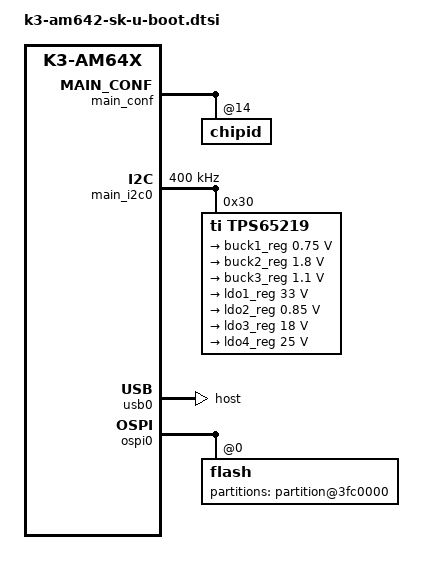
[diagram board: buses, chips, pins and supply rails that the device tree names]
// SPDX-License-Identifier: GPL-2.0
/*
 * Copyright (C) 2021 Texas Instruments Incorporated - https://www.ti.com/
 */

#include "k3-am64x-binman.dtsi"

/ {
	chosen {
		stdout-path = "serial2:115200n8";
		tick-timer = &timer1;
	};

	aliases {
		mmc1 = &sdhci1;
	};

	memory@80000000 {
		bootph-pre-ram;
	};
};

&cbass_main{
	bootph-pre-ram;
	timer1: timer@2400000 {
		compatible = "ti,omap5430-timer";
		reg = <0x0 0x2400000 0x0 0x80>;
		ti,timer-alwon;
		clock-frequency = <200000000>;
		bootph-pre-ram;
	};
};

&main_conf {
	bootph-pre-ram;
	chipid@14 {
		bootph-pre-ram;
	};
};

&main_pmx0 {
	bootph-pre-ram;
	main_i2c0_pins_default: main-i2c0-pins-default {
		bootph-pre-ram;
		pinctrl-single,pins = <
			AM64X_IOPAD(0x0260, PIN_INPUT_PULLUP, 0) /* (A18) I2C0_SCL */
			AM64X_IOPAD(0x0264, PIN_INPUT_PULLUP, 0) /* (B18) I2C0_SDA */
		>;
	};
};

&main_i2c0 {
	status = "okay";
	bootph-pre-ram;
	pinctrl-names = "default";
	pinctrl-0 = <&main_i2c0_pins_default>;
	clock-frequency = <400000>;

	tps65219: pmic@30 {
		compatible = "ti,tps65219";
		reg = <0x30>;

		regulators {
			buck1_reg: buck1 {
				regulator-name = "VDD_CORE";
				regulator-min-microvolt = <750000>;
				regulator-max-microvolt = <750000>;
				regulator-boot-on;
				regulator-always-on;
			};

			buck2_reg: buck2 {
				regulator-name = "VCC1V8";
				regulator-min-microvolt = <1800000>;
				regulator-max-microvolt = <1800000>;
				regulator-boot-on;
				regulator-always-on;
			};

			buck3_reg: buck3 {
				regulator-name = "VDD_LPDDR4";
				regulator-min-microvolt = <1100000>;
				regulator-max-microvolt = <1100000>;
				regulator-boot-on;
				regulator-always-on;
			};

			ldo1_reg: ldo1 {
				regulator-name = "VDDSHV_SD_IO_PMIC";
				regulator-min-microvolt = <33000000>;
				regulator-max-microvolt = <33000000>;
			};

			ldo2_reg: ldo2 {
				regulator-name = "VDDAR_CORE";
				regulator-min-microvolt = <850000>;
				regulator-max-microvolt = <850000>;
				regulator-boot-on;
				regulator-always-on;
			};

			ldo3_reg: ldo3 {
				regulator-name = "VDDA_1V8";
				regulator-min-microvolt = <18000000>;
				regulator-max-microvolt = <18000000>;
				regulator-boot-on;
				regulator-always-on;
			};

			ldo4_reg: ldo4 {
				regulator-name = "VDD_PHY_2V5";
				regulator-min-microvolt = <25000000>;
				regulator-max-microvolt = <25000000>;
				regulator-boot-on;
				regulator-always-on;
			};
		};
	};
};

&main_uart0 {
	bootph-pre-ram;
};

&dmss {
	bootph-pre-ram;
};

&secure_proxy_main {
	bootph-pre-ram;
};

&dmsc {
	bootph-pre-ram;
	k3_sysreset: sysreset-controller {
		compatible = "ti,sci-sysreset";
		bootph-pre-ram;
	};
};

&k3_pds {
	bootph-pre-ram;
};

&k3_clks {
	bootph-pre-ram;
};

&k3_reset {
	bootph-pre-ram;
};

&sdhci0 {
	status = "disabled";
	bootph-pre-ram;
};

&sdhci1 {
	bootph-pre-ram;
};

&main_mmc1_pins_default {
	bootph-pre-ram;
};

&cpsw3g {
	reg = <0x0 0x8000000 0x0 0x200000>,
	      <0x0 0x43000200 0x0 0x8>;
	reg-names = "cpsw_nuss", "mac_efuse";
	/delete-property/ ranges;
	pinctrl-0 = <&mdio1_pins_default	/* HACK: as MDIO driver is not DM enabled */
		     &rgmii1_pins_default
		     &rgmii2_pins_default>;
	bootph-pre-ram;

	cpsw-phy-sel@04044 {
		compatible = "ti,am64-phy-gmii-sel";
		reg = <0x0 0x43004044 0x0 0x8>;
		bootph-pre-ram;
	};

	ethernet-ports {
		bootph-pre-ram;
	};
};

&cpsw_port2 {
	bootph-pre-ram;
};

&main_bcdma {
	bootph-pre-ram;
	reg = <0x00 0x485c0100 0x00 0x100>,
	      <0x00 0x4c000000 0x00 0x20000>,
	      <0x00 0x4a820000 0x00 0x20000>,
	      <0x00 0x4aa40000 0x00 0x20000>,
	      <0x00 0x4bc00000 0x00 0x100000>,
	      <0x00 0x48600000 0x00 0x8000>,
	      <0x00 0x484a4000 0x00 0x2000>,
	      <0x00 0x484c2000 0x00 0x2000>;
	reg-names = "gcfg", "bchanrt", "rchanrt", "tchanrt", "ringrt",
		    "cfg", "tchan", "rchan";
};

&main_pktdma {
	bootph-pre-ram;
	reg = <0x00 0x485c0000 0x00 0x100>,
	      <0x00 0x4a800000 0x00 0x20000>,
	      <0x00 0x4aa00000 0x00 0x40000>,
	      <0x00 0x4b800000 0x00 0x400000>,
	      <0x00 0x485e0000 0x00 0x20000>,
	      <0x00 0x484a0000 0x00 0x4000>,
	      <0x00 0x484c0000 0x00 0x2000>,
	      <0x00 0x48430000 0x00 0x4000>;
	reg-names = "gcfg", "rchanrt", "tchanrt", "ringrt", "cfg",
		    "tchan", "rchan", "rflow";
};

&rgmii1_pins_default {
	bootph-pre-ram;
};

&rgmii2_pins_default {
	bootph-pre-ram;
};

&mdio1_pins_default {
	bootph-pre-ram;
};

&cpsw3g_phy1 {
	bootph-pre-ram;
};

&main_usb0_pins_default {
	bootph-pre-ram;
};

&serdes_ln_ctrl {
	u-boot,mux-autoprobe;
};

&usbss0 {
	bootph-pre-ram;
};

&usb0 {
	dr_mode = "host";
	bootph-pre-ram;
};

&serdes_wiz0 {
	bootph-pre-ram;
};

&serdes0_usb_link {
	bootph-pre-ram;
};

&serdes0 {
	bootph-pre-ram;
};

&serdes_refclk {
	bootph-pre-ram;
};

&ospi0_pins_default {
	bootph-pre-ram;
};

&fss {
	bootph-pre-ram;
};

&ospi0 {
	bootph-pre-ram;

	flash@0 {
		bootph-pre-ram;

		partitions {
			bootph-pre-ram;
			#address-cells = <1>;
			#size-cells = <1>;

			partition@3fc0000 {
				bootph-pre-ram;
				reg = <0x3fc0000 0x40000>;
			};
		};
	};
};
